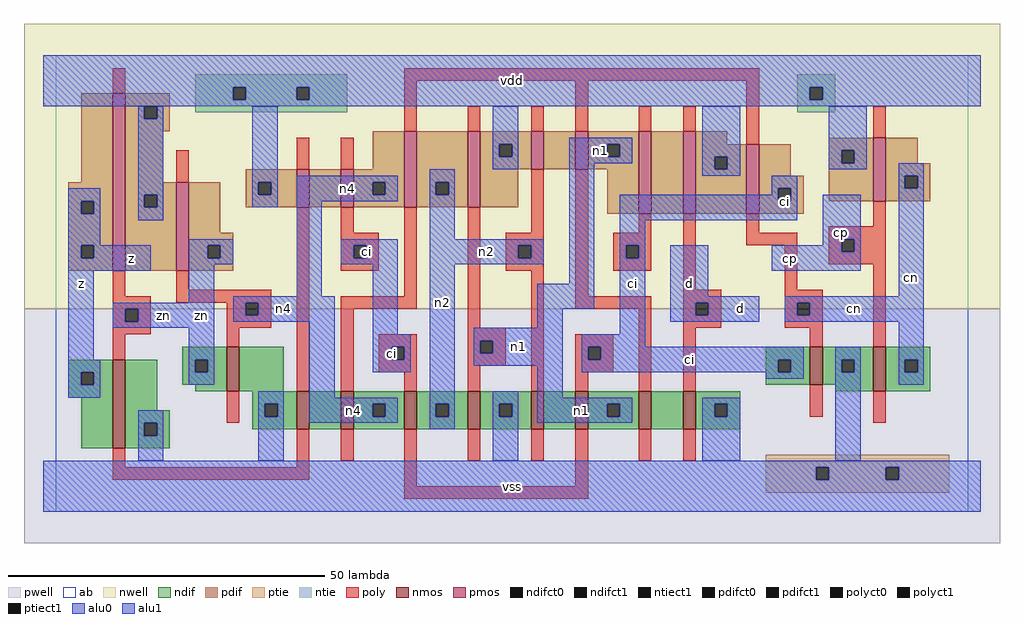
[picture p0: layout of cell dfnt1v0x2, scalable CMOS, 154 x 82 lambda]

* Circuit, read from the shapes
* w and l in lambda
.subckt dfnt1v0x2 ci cn cp d n1 n2 n4 vdd vss z zn
M1 vss zn z vss nfet w=14 l=2
M2 vss n4 zn vss nfet w=7 l=2
M3 n3 zn vss vss nfet w=6 l=2
M4 n4 cn n3 vss nfet w=6 l=2
M5 n2 ci n4 vss nfet w=6 l=2
M6 vss n1 n2 vss nfet w=6 l=2
M7 n5 n2 vss vss nfet w=6 l=2
M8 n1 ci n5 vss nfet w=6 l=2
M9 n6 cn n1 vss nfet w=6 l=2
M10 vss d n6 vss nfet w=6 l=2
M11 vss cn ci vss nfet w=6 l=2
M12 cn cp vss vss nfet w=7 l=2
M13 vdd zn z vdd pfet w=28 l=2
M14 zn n4 vdd vdd pfet w=14 l=2
M15 n7 zn vdd vdd pfet w=6 l=2
M16 n4 ci n7 vdd pfet w=6 l=2
M17 n2 cn n4 vdd pfet w=12 l=2
M18 vdd n1 n2 vdd pfet w=12 l=2
M19 n8 n2 vdd vdd pfet w=6 l=2
M20 n1 cn n8 vdd pfet w=6 l=2
M21 n9 ci n1 vdd pfet w=13 l=2
M22 vdd d n9 vdd pfet w=13 l=2
M23 ci cn vdd vdd pfet w=11 l=2
M24 cn cp vdd vdd pfet w=10 l=2
.ends

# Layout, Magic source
magic
tech scmos
<< ab >>
rect 0 0 144 72
<< nwell >>
rect -5 32 149 77
<< pwell >>
rect -5 -5 149 32
<< poly >>
rect 9 66 11 70
rect 55 68 111 70
rect 55 60 57 68
rect 65 60 67 64
rect 75 60 77 64
rect 82 60 84 68
rect 92 60 94 64
rect 99 60 101 64
rect 19 52 21 57
rect 38 54 40 59
rect 45 54 47 59
rect 9 34 11 38
rect 19 35 21 38
rect 9 32 15 34
rect 19 33 34 35
rect 9 30 11 32
rect 13 30 15 32
rect 9 28 15 30
rect 27 31 30 33
rect 32 31 34 33
rect 27 29 34 31
rect 9 24 11 28
rect 27 26 29 29
rect 38 19 40 48
rect 45 44 47 48
rect 45 42 51 44
rect 45 40 47 42
rect 49 40 51 42
rect 45 38 51 40
rect 55 34 57 48
rect 45 32 57 34
rect 45 19 47 32
rect 65 29 67 48
rect 75 44 77 54
rect 71 42 77 44
rect 71 40 73 42
rect 75 40 77 42
rect 71 38 77 40
rect 51 26 57 28
rect 51 24 53 26
rect 55 24 57 26
rect 51 22 57 24
rect 55 19 57 22
rect 65 27 71 29
rect 65 25 67 27
rect 69 25 71 27
rect 65 23 71 25
rect 65 19 67 23
rect 75 19 77 38
rect 82 34 84 54
rect 109 58 111 68
rect 129 59 131 64
rect 92 44 94 47
rect 88 42 94 44
rect 88 40 90 42
rect 92 40 94 42
rect 88 38 94 40
rect 99 35 101 47
rect 109 44 111 47
rect 129 45 131 49
rect 109 42 117 44
rect 115 35 117 42
rect 122 43 131 45
rect 122 41 124 43
rect 126 41 131 43
rect 122 39 131 41
rect 82 32 94 34
rect 82 26 88 28
rect 82 24 84 26
rect 86 24 88 26
rect 82 22 88 24
rect 82 19 84 22
rect 92 19 94 32
rect 99 33 105 35
rect 99 31 101 33
rect 103 31 105 33
rect 99 29 105 31
rect 115 33 121 35
rect 115 31 117 33
rect 119 31 121 33
rect 115 29 121 31
rect 99 19 101 29
rect 119 26 121 29
rect 129 26 131 39
rect 27 14 29 19
rect 119 15 121 20
rect 129 14 131 19
rect 9 7 11 10
rect 38 7 40 13
rect 45 8 47 13
rect 9 5 40 7
rect 55 4 57 13
rect 65 8 67 13
rect 75 8 77 13
rect 82 4 84 13
rect 92 8 94 13
rect 99 8 101 13
rect 55 2 84 4
<< ndif >>
rect 20 24 27 26
rect 2 22 9 24
rect 2 20 4 22
rect 6 20 9 22
rect 2 18 9 20
rect 4 10 9 18
rect 11 16 16 24
rect 20 22 22 24
rect 24 22 27 24
rect 20 20 27 22
rect 22 19 27 20
rect 29 19 36 26
rect 112 24 119 26
rect 112 22 114 24
rect 116 22 119 24
rect 112 20 119 22
rect 121 24 129 26
rect 121 22 124 24
rect 126 22 129 24
rect 121 20 129 22
rect 11 14 18 16
rect 31 17 38 19
rect 31 15 33 17
rect 35 15 38 17
rect 11 12 14 14
rect 16 12 18 14
rect 31 13 38 15
rect 40 13 45 19
rect 47 17 55 19
rect 47 15 50 17
rect 52 15 55 17
rect 47 13 55 15
rect 57 17 65 19
rect 57 15 60 17
rect 62 15 65 17
rect 57 13 65 15
rect 67 17 75 19
rect 67 15 70 17
rect 72 15 75 17
rect 67 13 75 15
rect 77 13 82 19
rect 84 17 92 19
rect 84 15 87 17
rect 89 15 92 17
rect 84 13 92 15
rect 94 13 99 19
rect 101 17 108 19
rect 101 15 104 17
rect 106 15 108 17
rect 123 19 129 20
rect 131 24 138 26
rect 131 22 134 24
rect 136 22 138 24
rect 131 19 138 22
rect 101 13 108 15
rect 11 10 18 12
<< pdif >>
rect 4 52 9 66
rect 2 49 9 52
rect 2 47 4 49
rect 6 47 9 49
rect 2 42 9 47
rect 2 40 4 42
rect 6 40 9 42
rect 2 38 9 40
rect 11 64 18 66
rect 11 62 14 64
rect 16 62 18 64
rect 11 60 18 62
rect 11 52 17 60
rect 50 54 55 60
rect 30 52 38 54
rect 11 50 19 52
rect 11 48 14 50
rect 16 48 19 50
rect 11 38 19 48
rect 21 44 26 52
rect 30 50 32 52
rect 34 50 38 52
rect 30 48 38 50
rect 40 48 45 54
rect 47 52 55 54
rect 47 50 50 52
rect 52 50 55 52
rect 47 48 55 50
rect 57 52 65 60
rect 57 50 60 52
rect 62 50 65 52
rect 57 48 65 50
rect 67 58 75 60
rect 67 56 70 58
rect 72 56 75 58
rect 67 54 75 56
rect 77 54 82 60
rect 84 58 92 60
rect 84 56 87 58
rect 89 56 92 58
rect 84 54 92 56
rect 67 48 73 54
rect 21 42 28 44
rect 21 40 24 42
rect 26 40 28 42
rect 21 38 28 40
rect 87 47 92 54
rect 94 47 99 60
rect 101 58 106 60
rect 101 56 109 58
rect 101 54 104 56
rect 106 54 109 56
rect 101 47 109 54
rect 111 53 116 58
rect 122 57 129 59
rect 122 55 124 57
rect 126 55 129 57
rect 111 51 118 53
rect 111 49 114 51
rect 116 49 118 51
rect 122 49 129 55
rect 131 55 136 59
rect 131 53 138 55
rect 131 51 134 53
rect 136 51 138 53
rect 131 49 138 51
rect 111 47 118 49
<< alu1 >>
rect -2 67 146 72
rect -2 65 28 67
rect 30 65 38 67
rect 40 65 119 67
rect 121 65 146 67
rect -2 64 146 65
rect 2 49 7 51
rect 2 47 4 49
rect 6 47 7 49
rect 2 42 7 47
rect 2 40 4 42
rect 6 40 15 42
rect 2 38 15 40
rect 2 24 6 38
rect 2 22 7 24
rect 2 20 4 22
rect 6 20 7 22
rect 2 18 7 20
rect 121 43 127 50
rect 121 42 124 43
rect 97 34 103 42
rect 113 41 124 42
rect 126 41 127 43
rect 113 38 127 41
rect 97 33 111 34
rect 97 31 101 33
rect 103 31 111 33
rect 97 30 111 31
rect -2 7 146 8
rect -2 5 120 7
rect 122 5 131 7
rect 133 5 146 7
rect -2 0 146 5
<< ptie >>
rect 112 7 141 9
rect 112 5 120 7
rect 122 5 131 7
rect 133 5 141 7
rect 112 3 141 5
<< ntie >>
rect 22 67 46 69
rect 22 65 28 67
rect 30 65 38 67
rect 40 65 46 67
rect 22 63 46 65
rect 117 67 123 69
rect 117 65 119 67
rect 121 65 123 67
rect 117 63 123 65
<< nmos >>
rect 9 10 11 24
rect 27 19 29 26
rect 119 20 121 26
rect 38 13 40 19
rect 45 13 47 19
rect 55 13 57 19
rect 65 13 67 19
rect 75 13 77 19
rect 82 13 84 19
rect 92 13 94 19
rect 99 13 101 19
rect 129 19 131 26
<< pmos >>
rect 9 38 11 66
rect 19 38 21 52
rect 38 48 40 54
rect 45 48 47 54
rect 55 48 57 60
rect 65 48 67 60
rect 75 54 77 60
rect 82 54 84 60
rect 92 47 94 60
rect 99 47 101 60
rect 109 47 111 58
rect 129 49 131 59
<< polyct0 >>
rect 11 30 13 32
rect 30 31 32 33
rect 47 40 49 42
rect 73 40 75 42
rect 53 24 55 26
rect 67 25 69 27
rect 90 40 92 42
rect 84 24 86 26
rect 117 31 119 33
<< polyct1 >>
rect 124 41 126 43
rect 101 31 103 33
<< ndifct0 >>
rect 22 22 24 24
rect 114 22 116 24
rect 124 22 126 24
rect 33 15 35 17
rect 14 12 16 14
rect 50 15 52 17
rect 60 15 62 17
rect 70 15 72 17
rect 87 15 89 17
rect 104 15 106 17
rect 134 22 136 24
<< ndifct1 >>
rect 4 20 6 22
<< ntiect1 >>
rect 28 65 30 67
rect 38 65 40 67
rect 119 65 121 67
<< ptiect1 >>
rect 120 5 122 7
rect 131 5 133 7
<< pdifct0 >>
rect 14 62 16 64
rect 14 48 16 50
rect 32 50 34 52
rect 50 50 52 52
rect 60 50 62 52
rect 70 56 72 58
rect 87 56 89 58
rect 24 40 26 42
rect 104 54 106 56
rect 124 55 126 57
rect 114 49 116 51
rect 134 51 136 53
<< pdifct1 >>
rect 4 47 6 49
rect 4 40 6 42
<< alu0 >>
rect 13 62 14 64
rect 16 62 17 64
rect 13 50 17 62
rect 13 48 14 50
rect 16 48 17 50
rect 31 52 35 64
rect 69 58 73 64
rect 69 56 70 58
rect 72 56 73 58
rect 69 54 73 56
rect 81 58 91 59
rect 81 56 87 58
rect 89 56 91 58
rect 81 55 91 56
rect 102 56 108 64
rect 31 50 32 52
rect 34 50 35 52
rect 31 48 35 50
rect 38 52 54 53
rect 38 50 50 52
rect 52 50 54 52
rect 38 49 54 50
rect 59 52 63 54
rect 59 50 60 52
rect 62 50 63 52
rect 13 46 17 48
rect 21 42 28 43
rect 21 40 24 42
rect 26 40 28 42
rect 21 39 28 40
rect 21 33 25 39
rect 38 34 42 49
rect 59 43 63 50
rect 45 42 54 43
rect 45 40 47 42
rect 49 40 54 42
rect 45 39 54 40
rect 9 32 25 33
rect 9 30 11 32
rect 13 30 25 32
rect 28 33 44 34
rect 28 31 30 33
rect 32 31 44 33
rect 28 30 44 31
rect 9 29 25 30
rect 21 24 25 29
rect 21 22 22 24
rect 24 22 25 24
rect 21 20 25 22
rect 32 17 36 19
rect 13 14 17 16
rect 13 12 14 14
rect 16 12 17 14
rect 13 8 17 12
rect 32 15 33 17
rect 35 15 36 17
rect 32 8 36 15
rect 40 18 44 30
rect 50 28 54 39
rect 59 42 77 43
rect 59 40 73 42
rect 75 40 77 42
rect 59 39 77 40
rect 50 26 56 28
rect 50 24 53 26
rect 55 24 56 26
rect 50 22 56 24
rect 40 17 54 18
rect 40 15 50 17
rect 52 15 54 17
rect 40 14 54 15
rect 59 17 63 39
rect 81 36 85 55
rect 102 54 104 56
rect 106 54 108 56
rect 122 57 128 64
rect 122 55 124 57
rect 126 55 128 57
rect 122 54 128 55
rect 102 53 108 54
rect 133 53 137 55
rect 113 51 117 53
rect 113 50 114 51
rect 76 32 85 36
rect 89 49 114 50
rect 116 49 117 51
rect 133 51 134 53
rect 136 51 137 53
rect 89 46 117 49
rect 89 42 93 46
rect 89 40 90 42
rect 92 40 93 42
rect 76 29 80 32
rect 66 27 80 29
rect 89 28 93 40
rect 133 34 137 51
rect 115 33 137 34
rect 115 31 117 33
rect 119 31 137 33
rect 115 30 137 31
rect 66 25 67 27
rect 69 25 80 27
rect 66 23 80 25
rect 59 15 60 17
rect 62 15 63 17
rect 59 13 63 15
rect 69 17 73 19
rect 69 15 70 17
rect 72 15 73 17
rect 69 8 73 15
rect 76 18 80 23
rect 83 26 93 28
rect 83 24 84 26
rect 86 24 118 26
rect 83 22 114 24
rect 116 22 118 24
rect 112 21 118 22
rect 123 24 127 26
rect 123 22 124 24
rect 126 22 127 24
rect 76 17 91 18
rect 76 15 87 17
rect 89 15 91 17
rect 76 14 91 15
rect 102 17 108 18
rect 102 15 104 17
rect 106 15 108 17
rect 102 8 108 15
rect 123 8 127 22
rect 133 24 137 30
rect 133 22 134 24
rect 136 22 137 24
rect 133 20 137 22
<< labels >>
rlabel alu0 17 31 17 31 6 zn
rlabel alu0 23 31 23 31 6 zn
rlabel alu0 47 16 47 16 6 n4
rlabel alu0 36 32 36 32 6 n4
rlabel alu0 53 25 53 25 6 ci
rlabel alu0 46 51 46 51 6 n4
rlabel alu0 49 41 49 41 6 ci
rlabel alu0 61 33 61 33 6 n2
rlabel alu0 83 16 83 16 6 n1
rlabel alu0 73 26 73 26 6 n1
rlabel alu0 91 36 91 36 6 ci
rlabel alu0 68 41 68 41 6 n2
rlabel alu0 86 57 86 57 6 n1
rlabel alu0 100 24 100 24 6 ci
rlabel alu0 126 32 126 32 6 cn
rlabel alu0 115 49 115 49 6 ci
rlabel alu0 135 37 135 37 6 cn
rlabel alu1 12 40 12 40 6 z
rlabel alu1 4 36 4 36 6 z
rlabel alu1 72 4 72 4 6 vss
rlabel alu1 100 36 100 36 6 d
rlabel alu1 72 68 72 68 6 vdd
rlabel alu1 108 32 108 32 6 d
rlabel alu1 116 40 116 40 6 cp
rlabel alu1 124 44 124 44 6 cp
<< end >>
